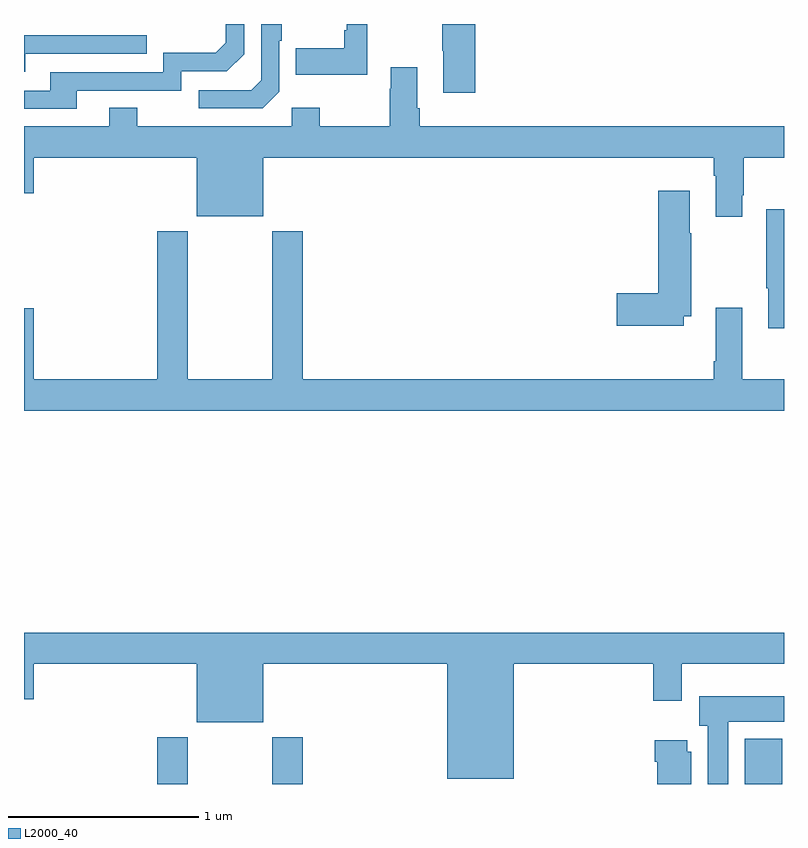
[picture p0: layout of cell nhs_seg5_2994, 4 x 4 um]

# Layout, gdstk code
import gdstk
lib = gdstk.Library(unit=1e-6, precision=1e-09)
def R(c, l, rs):  # rectangles x0, y0, x1, y1
    for r in rs: c.add(gdstk.rectangle(r[:2], r[2:], *l))
def P(c, l, *ps):  # polygons
    for p in ps: c.add(gdstk.Polygon(p, *l))
L2000_40 = (2000, 40)

nhs_seg5_2994 = lib.new_cell('nhs_seg5_2994')
R(nhs_seg5_2994, L2000_40, [(285.701,850.799,285.861,851.044), (286.306,850.799,286.466,851.044), (288.794,850.799,288.991,851.038)])
P(nhs_seg5_2994, L2000_40, [(286.807,854.799),(286.698,854.799),(286.698,854.767),(286.686,854.767),(286.686,854.671),(286.429,854.671),(286.429,854.531),(286.807,854.531)],
  [(285.277,854.448),(285.828,854.448),(285.828,854.55),(286.068,854.55),(286.158,854.64),(286.158,854.799),(286.062,854.799),(286.062,854.7),(286.009,854.647),(285.732,854.647),(285.732,854.544),(285.137,854.544),(285.137,854.448),(285,854.448),(285,854.352),(285.277,854.352)],
  [(286.344,854.442),(286.344,854.711),(286.357,854.711),(286.357,854.799),(286.248,854.799),(286.248,854.502),(286.197,854.451),(285.921,854.451),(285.921,854.355),(286.257,854.355)],
  [(287.375,854.799),(287.2,854.799),(287.2,854.659),(287.207,854.659),(287.207,854.436),(287.375,854.436)],
  [(285.007,854.643),(285.647,854.643),(285.647,854.739),(285,854.739),(285,854.549),(285.007,854.549)],
  [(288.781,853.897),(288.789,853.897),(288.789,854.096),(289,854.096),(289,854.26),(287.084,854.26),(287.084,854.356),(287.071,854.356),(287.071,854.572),(286.931,854.572),(286.931,854.459),(286.924,854.459),(286.924,854.26),(286.557,854.26),(286.557,854.359),(286.41,854.359),(286.41,854.26),(285.597,854.26),(285.597,854.359),(285.449,854.359),(285.449,854.26),(285,854.26),(285,853.908),(285.052,853.908),(285.052,854.096),(285.908,854.096),(285.908,853.787),(286.258,853.787),(286.258,854.096),(288.629,854.096),(288.629,854),(288.641,854),(288.641,853.785),(288.781,853.785)],
  [(288.472,853.262),(288.513,853.262),(288.513,853.697),(288.505,853.697),(288.505,853.921),(288.338,853.921),(288.338,853.382),(288.12,853.382),(288.12,853.211),(288.472,853.211)],
  [(289,853.825),(288.906,853.825),(288.906,853.409),(288.917,853.409),(288.917,853.197),(289,853.197)],
  [(289,852.928),(288.781,852.928),(288.781,853.306),(288.641,853.306),(288.641,853.024),(288.629,853.024),(288.629,852.928),(286.466,852.928),(286.466,853.708),(286.306,853.708),(286.306,852.928),(285.861,852.928),(285.861,853.708),(285.701,853.708),(285.701,852.928),(285.052,852.928),(285.052,853.303),(285,853.303),(285,852.764),(289,852.764)],
  [(287.578,851.432),(288.311,851.432),(288.311,851.238),(288.463,851.238),(288.463,851.432),(289,851.432),(289,851.596),(285,851.596),(285,851.244),(285.052,851.244),(285.052,851.432),(285.908,851.432),(285.908,851.123),(286.258,851.123),(286.258,851.432),(287.228,851.432),(287.228,850.826),(287.578,850.826)],
  [(288.706,851.126),(289,851.126),(289,851.26),(288.554,851.26),(288.554,851.106),(288.599,851.106),(288.599,850.799),(288.706,850.799)],
  [(288.511,850.968),(288.49,850.968),(288.49,851.029),(288.32,851.029),(288.32,850.916),(288.332,850.916),(288.332,850.799),(288.511,850.799)])

lib.write_gds('nhs_seg5_2994.gds')
